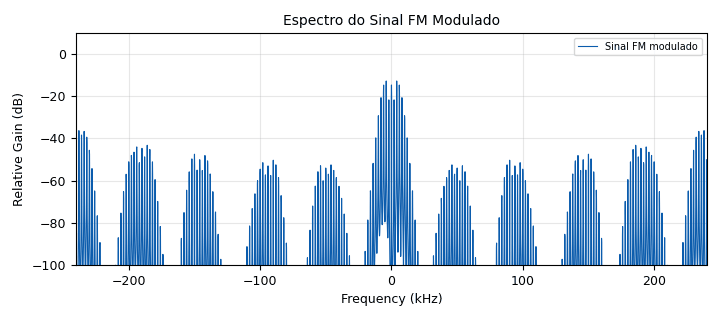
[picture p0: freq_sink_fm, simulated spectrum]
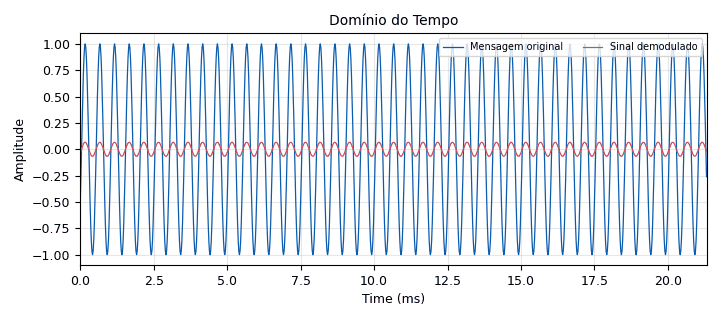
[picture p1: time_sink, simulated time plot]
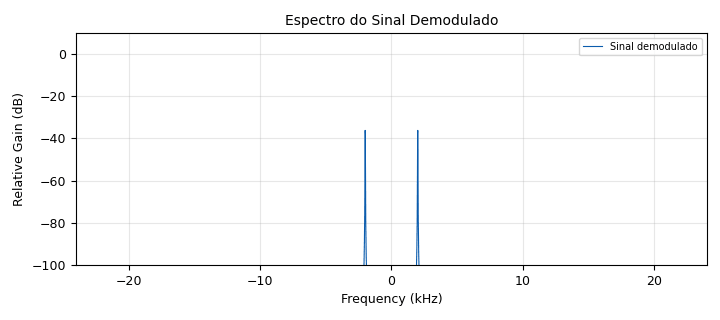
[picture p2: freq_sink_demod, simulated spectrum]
options:
  parameters:
    author: Prof. Daniel Costa Araújo
    description: Prática 05 - Modulação FM
    generate_options: qt_gui
    id: pratica_05_fm
    output_language: python
    title: Prática 05 - Modulação FM
  states: {}

blocks:
- name: samp_rate
  id: variable
  parameters:
    comment: Taxa de amostragem (quad_rate)
    value: '480000'
  states: {}
- name: audio_rate
  id: variable
  parameters:
    comment: Taxa de áudio
    value: '48000'
  states: {}
- name: fm_freq
  id: variable_qtgui_range
  parameters:
    comment: Frequência da mensagem
    gui_hint: 0,0,1,1
    label: Frequência mensagem fm (Hz)
    start: '500'
    step: '500'
    stop: '10000'
    value: '2000'
  states: {}
- name: max_dev
  id: variable_qtgui_range
  parameters:
    comment: Desvio máximo de frequência FM
    gui_hint: 0,1,1,1
    label: Desvio máximo (Hz)
    start: '1000'
    step: '1000'
    stop: '20000'
    value: '5000'
  states: {}
- name: noise_amp
  id: variable_qtgui_range
  parameters:
    comment: Amplitude do ruído
    gui_hint: 1,0,1,1
    label: Amplitude ruído
    start: '0'
    step: '0.01'
    stop: '0.5'
    value: '0'
  states: {}
- name: src_mensagem
  id: analog_sig_source_x
  parameters:
    amp: '1.0'
    comment: Sinal mensagem m(t)
    freq: fm_freq
    offset: '0'
    phase: '0'
    samp_rate: audio_rate
    type: float
    waveform: analog.GR_COS_WAVE
  states: {}
- name: src_noise
  id: analog_noise_source_x
  parameters:
    amp: noise_amp
    comment: Ruído gaussiano
    noise_type: analog.GR_GAUSSIAN
    seed: '0'
    type: complex
  states: {}
- name: wbfm_tx
  id: analog_wfm_tx
  parameters:
    audio_rate: audio_rate
    comment: Modulador FM (WBFM Transmit)
    max_dev: max_dev
    quad_rate: samp_rate
    tau: '75e-6'
  states: {}
- name: throttle
  id: blocks_throttle2
  parameters:
    samples_per_second: samp_rate
    type: complex
  states: {}
- name: add
  id: blocks_add_xx
  parameters:
    comment: Soma sinal FM + ruído
    type: complex
  states: {}
- name: wbfm_rx
  id: analog_wfm_rcv
  parameters:
    audio_decimation: int(samp_rate/audio_rate)
    comment: Demodulador FM (WBFM Receive)
    quad_rate: samp_rate
  states: {}
- name: freq_sink_fm
  id: qtgui_freq_sink_x
  parameters:
    bw: samp_rate
    fc: '0'
    fftsize: '4096'
    grid: 'True'
    gui_hint: 2,0,1,1
    label1: Sinal FM modulado
    name: '"Espectro do Sinal FM Modulado"'
    type: complex
    wintype: window.WIN_HANN
    ymin: '-100'
  states: {}
- name: time_sink
  id: qtgui_time_sink_x
  parameters:
    autoscale: 'True'
    grid: 'True'
    gui_hint: 2,1,1,1
    label1: Mensagem original
    label2: Sinal demodulado
    name: '"Domínio do Tempo"'
    nconnections: '2'
    size: '1024'
    srate: audio_rate
    type: float
    ymax: '1.5'
    ymin: '-1.5'
  states: {}
- name: freq_sink_demod
  id: qtgui_freq_sink_x
  parameters:
    bw: audio_rate
    fc: '0'
    fftsize: '4096'
    grid: 'True'
    gui_hint: 3,0,1,2
    label1: Sinal demodulado
    name: '"Espectro do Sinal Demodulado"'
    type: float
    wintype: window.WIN_HANN
    ymin: '-100'
  states: {}

connections:
- [src_mensagem, '0', wbfm_tx, '0']
- [wbfm_tx, '0', throttle, '0']
- [throttle, '0', add, '0']
- [src_noise, '0', add, '1']
- [add, '0', wbfm_rx, '0']
- [src_mensagem, '0', time_sink, '0']
- [wbfm_rx, '0', time_sink, '1']
- [throttle, '0', freq_sink_fm, '0']
- [wbfm_rx, '0', freq_sink_demod, '0']

metadata:
  file_format: 1
  grc_version: 3.10.12.0
